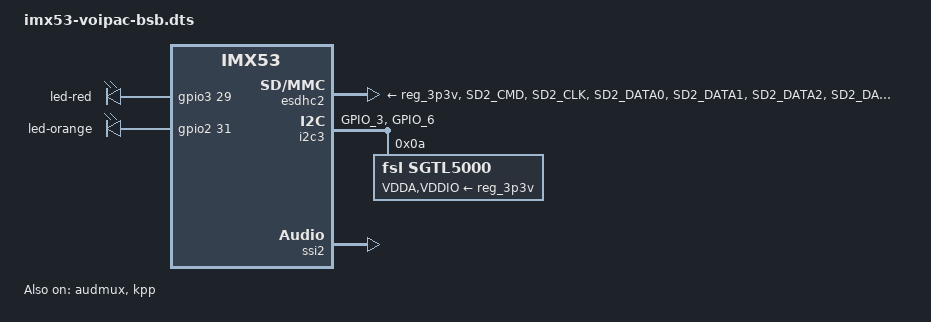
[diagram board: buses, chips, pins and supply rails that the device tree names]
/*
 * Copyright 2013 Rostislav Lisovy <lisovy@gmail.com>, PiKRON s.r.o.
 *
 * The code contained herein is licensed under the GNU General Public
 * License. You may obtain a copy of the GNU General Public License
 * Version 2 or later at the following locations:
 *
 * http://www.opensource.org/licenses/gpl-license.html
 * http://www.gnu.org/copyleft/gpl.html
 */

/dts-v1/;
#include "imx53-voipac-dmm-668.dtsi"

/ {
	sound {
		compatible = "fsl,imx53-voipac-sgtl5000",
			     "fsl,imx-audio-sgtl5000";
		model = "imx53-voipac-sgtl5000";
		ssi-controller = <&ssi2>;
		audio-codec = <&sgtl5000>;
		audio-routing =
			"Headphone Jack", "HP_OUT";
		mux-int-port = <2>;
		mux-ext-port = <5>;
	};

	leds {
		compatible = "gpio-leds";
		pinctrl-names = "default";
		pinctrl-0 = <&led_pin_gpio>;

		led1 {
			label = "led-red";
			gpios = <&gpio3 29 0>;
			default-state = "off";
		};

		led2 {
			label = "led-orange";
			gpios = <&gpio2 31 0>;
			default-state = "off";
		};
	};
};

&iomuxc {
	pinctrl-names = "default";
	pinctrl-0 = <&pinctrl_hog>;

	imx53-voipac {
		pinctrl_hog: hoggrp {
			fsl,pins = <
				/* SD2_CD */
				MX53_PAD_EIM_D25__GPIO3_25	0x80000000
				/* SD2_WP */
				MX53_PAD_EIM_A19__GPIO2_19 	0x80000000
			>;
		};

		led_pin_gpio: led_gpio {
			fsl,pins = <
				MX53_PAD_EIM_D29__GPIO3_29	0x80000000
				MX53_PAD_EIM_EB3__GPIO2_31	0x80000000
			>;
		};

		/* Keyboard controller */
		pinctrl_kpp_1: kppgrp-1 {
			fsl,pins = <
				MX53_PAD_GPIO_9__KPP_COL_6	0xe8
				MX53_PAD_GPIO_4__KPP_COL_7	0xe8
				MX53_PAD_KEY_COL2__KPP_COL_2	0xe8
				MX53_PAD_KEY_COL3__KPP_COL_3	0xe8
				MX53_PAD_KEY_COL4__KPP_COL_4	0xe8
				MX53_PAD_GPIO_2__KPP_ROW_6	0xe0
				MX53_PAD_GPIO_5__KPP_ROW_7	0xe0
				MX53_PAD_KEY_ROW2__KPP_ROW_2	0xe0
				MX53_PAD_KEY_ROW3__KPP_ROW_3	0xe0
				MX53_PAD_KEY_ROW4__KPP_ROW_4	0xe0
			>;
		};

		pinctrl_audmux: audmuxgrp {
			fsl,pins = <
				MX53_PAD_KEY_COL0__AUDMUX_AUD5_TXC	0x80000000
				MX53_PAD_KEY_ROW0__AUDMUX_AUD5_TXD	0x80000000
				MX53_PAD_KEY_COL1__AUDMUX_AUD5_TXFS	0x80000000
				MX53_PAD_KEY_ROW1__AUDMUX_AUD5_RXD	0x80000000
			>;
		};

		pinctrl_esdhc2: esdhc2grp {
			fsl,pins = <
				MX53_PAD_SD2_CMD__ESDHC2_CMD		0x1d5
				MX53_PAD_SD2_CLK__ESDHC2_CLK		0x1d5
				MX53_PAD_SD2_DATA0__ESDHC2_DAT0		0x1d5
				MX53_PAD_SD2_DATA1__ESDHC2_DAT1		0x1d5
				MX53_PAD_SD2_DATA2__ESDHC2_DAT2		0x1d5
				MX53_PAD_SD2_DATA3__ESDHC2_DAT3		0x1d5
			>;
		};

		pinctrl_i2c3: i2c3grp {
			fsl,pins = <
				MX53_PAD_GPIO_3__I2C3_SCL		0xc0000000
				MX53_PAD_GPIO_6__I2C3_SDA		0xc0000000
			>;
		};
	};
};

&audmux {
	pinctrl-names = "default";
	pinctrl-0 = <&pinctrl_audmux>; /* SSI1 */
	status = "okay";
};

&esdhc2 {
	pinctrl-names = "default";
	pinctrl-0 = <&pinctrl_esdhc2>;
	cd-gpios = <&gpio3 25 0>;
	wp-gpios = <&gpio2 19 0>;
	vmmc-supply = <&reg_3p3v>;
	status = "okay";
};

&i2c3 {
	pinctrl-names = "default";
	pinctrl-0 = <&pinctrl_i2c3>;
	status = "okay";

	sgtl5000: codec@0a {
		compatible = "fsl,sgtl5000";
		reg = <0x0a>;
		VDDA-supply = <&reg_3p3v>;
		VDDIO-supply = <&reg_3p3v>;
		clocks = <&clks 150>;
	};
};

&kpp {
	pinctrl-names = "default";
	pinctrl-0 = <&pinctrl_kpp_1>;
	linux,keymap = <
			0x0203003b	/* KEY_F1 */
			0x0603003c	/* KEY_F2 */
			0x0207003d	/* KEY_F3 */
			0x0607003e	/* KEY_F4 */
			>;
	keypad,num-rows = <8>;
	keypad,num-columns = <1>;
	status = "okay";
};

&ssi2 {
	status = "okay";
};
